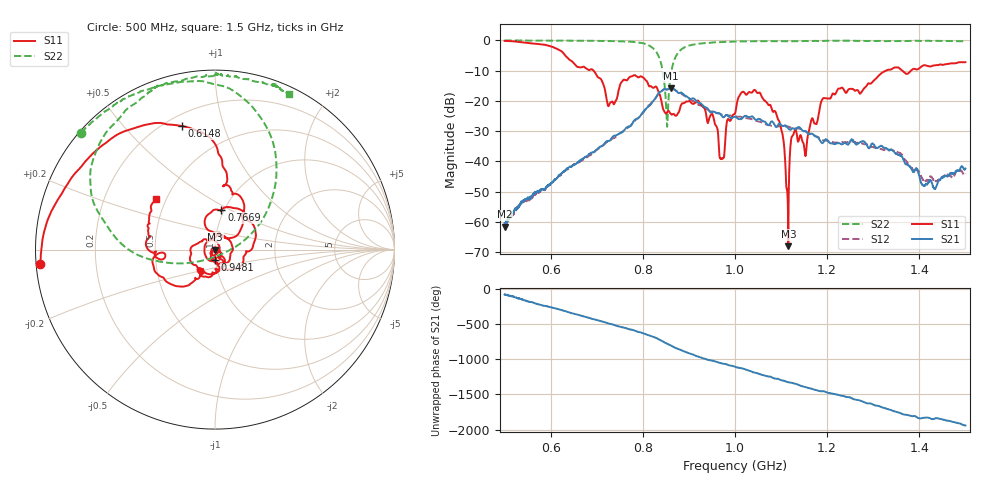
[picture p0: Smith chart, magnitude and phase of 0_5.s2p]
!Agilent Technologies,E8364B,US42250235,A.06.04.32
!Agilent E8364B: A.06.04.32
!Date: Thursday, October 01, 2020 14:03:41
!Correction: S11(Full 2 Port(1,2)) S21(Full 2 Port(1,2)) S12(Full 2 Port(1,2)) S22(Full 2 Port(1,2))
!S2P File: Measurements: S11, S21, S12, S22:
# Hz S  dB  R 50
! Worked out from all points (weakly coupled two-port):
!   2650 points, 500 MHz to 1.5 GHz, reference 50 ohm
!   highest |S21| = -15.92 dB at 860.1 MHz (marker M1); lowest = -61.5 dB at 500.8 MHz (marker M2)
!   lowest |S11| = -67.9 dB at 1.116 GHz (marker M3), VSWR 1.00, Z = 50 + j0.0326 ohm
!   |S11| at or under -10 dB: 692.8 MHz to 1.328 GHz (635.6 MHz wide, 62.9 % of centre); 1.363 GHz to 1.382 GHz (19.57 MHz wide, 1.43 % of centre)
!   |S22| runs from -28.6 to -0.1 dB; largest |S21 - S12| = 0.034
!   S11 on the Smith chart (normalised r, x): 500 MHz: 0.01, -0.04; 614.8 MHz: 0.26, +0.73; 766.9 MHz: 0.97, +0.45; 948.1 MHz: 0.99, -0.12; 1.5 GHz: 0.44, +0.30
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5e8  -0.21 -175.4  -60.41 -81.0  -60.97 -80.4  -0.10 138.9
5.00755e8  -0.22 -175.8  -61.51 -80.5  -60.43 -82.2  -0.10 138.8
6.147603e8  -2.93 105.1  -45.27 75.8  -45.27 67.6  -0.15 125.0
6.668554e8  -8.94 82.6  -39.34 -22.8  -39.82 -31.9  -0.16 121.3
7.268781e8  -21.42 67.5  -33.23 -134.6  -33.19 -141.2  -0.30 111.9
7.668932e8  -13.02 80.8  -28.55 152.8  -28.91 145.0  -0.47 98.5
8.337108e8  -16.95 -51.5  -17.56 6.0  -17.81 -4.3  -5.08 52.1
8.518309e8  -24.03 -94.4  -16.30 -56.9  -16.27 -66.8  -26.71 -30.0
8.601359e8  -24.20 -155.8  -15.92 -83.1  -15.86 -94.0  -11.98 -162.5
8.88071e8  -20.79 48.7  -17.86 -166.1  -18.16 -177.8  -2.56 156.9
9.480936e8  -24.45 -90.6  -23.81 63.3  -23.53 55.0  -0.82 125.0
9.714987e8  -39.12 -89.2  -24.97 18.8  -24.58 10.7  -0.63 117.6
1.000189e9  -24.14 -59.1  -25.23 -28.2  -25.11 -39.9  -0.44 112.9
1.042469e9  -16.41 -153.9  -25.98 -111.8  -26.42 -123.1  -0.34 110.4
1.087391e9  -23.51 117.4  -28.32 164.0  -28.37 157.5  -0.32 107.0
1.115704e9  -67.93 54.3  -29.12 112.1  -28.50 106.4  -0.35 102.3
1.126274e9  -31.27 -82.9  -29.05 97.9  -29.01 86.1  -0.33 100.0
1.151944e9  -37.56 122.8  -29.91 46.2  -30.06 34.8  -0.27 95.9
1.166667e9  -25.92 -50.8  -30.81 19.8  -31.01 8.6  -0.28 93.1
1.333522e9  -9.72 -148.7  -36.23 87.9  -36.42 80.3  -0.29 79.2
1.409022e9  -8.32 177.2  -47.99 -33.8  -46.27 -47.2  -0.23 69.0
1.5e9  -7.25 139.8  -42.34 -142.0  -44.00 -150.9  -0.36 64.4
